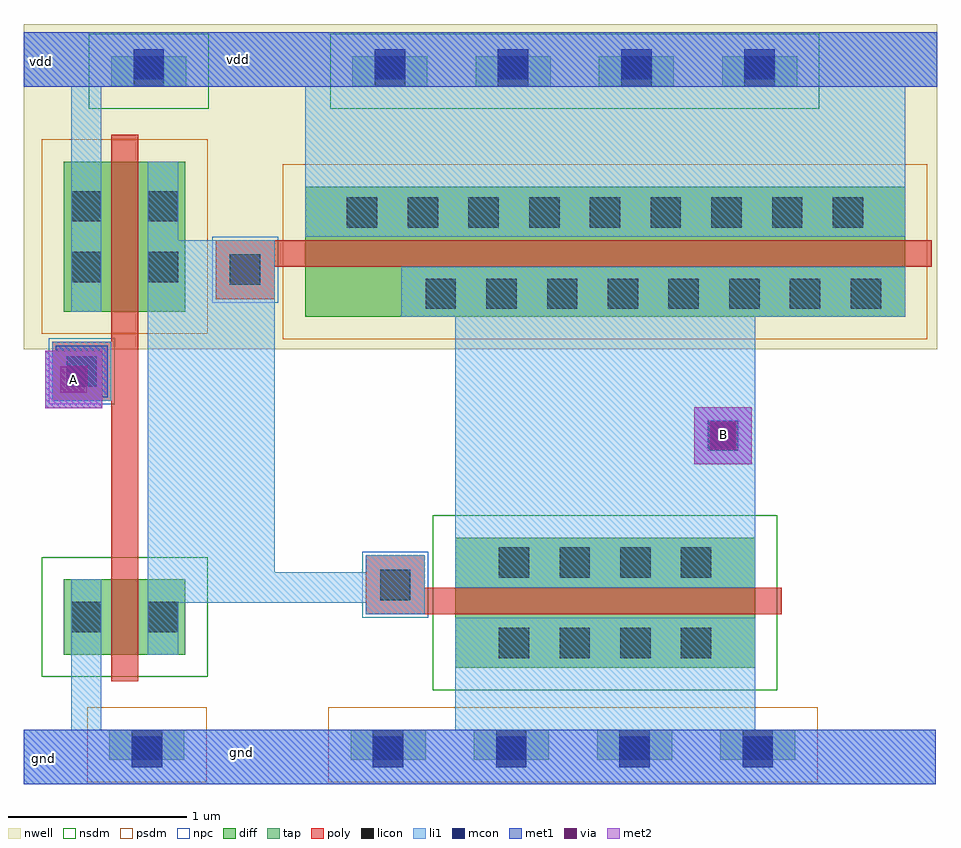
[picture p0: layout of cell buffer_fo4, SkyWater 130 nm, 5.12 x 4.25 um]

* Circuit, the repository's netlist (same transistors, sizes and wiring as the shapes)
* NGSPICE file created from buffer_fo4.ext - technology: sky130A

.subckt buffer_fo4 A B gnd vdd
X0 a_n240_0# A vdd vdd sky130_fd_pr__pfet_01v8 ad=0.223 pd=2.21 as=0.223 ps=2.21 w=0.84 l=0.15
X1 B a_n240_0# gnd gnd sky130_fd_pr__nfet_01v8 ad=0.47 pd=3.92 as=0.504 ps=3.96 w=1.68 l=0.15
X2 a_n240_0# A gnd gnd sky130_fd_pr__nfet_01v8 ad=0.111 pd=1.37 as=0.111 ps=1.37 w=0.42 l=0.15
X3 vdd a_n240_0# B vdd sky130_fd_pr__pfet_01v8 ad=1.01 pd=7.32 as=0.941 ps=7.28 w=3.36 l=0.15
.ends

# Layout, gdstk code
import gdstk
lib = gdstk.Library(unit=1e-6, precision=1e-09)
def R(c, l, rs):  # rectangles x0, y0, x1, y1
    for r in rs: c.add(gdstk.rectangle(r[:2], r[2:], *l))
def A(c, l, x, y, w, h, nx, ny, dx, dy):  # array of equal rectangles
    R(c, l, [(x+i*dx, y+j*dy, x+i*dx+w, y+j*dy+h) for i in range(nx) for j in range(ny)])
nwell = (64, 20)
diff = (65, 20)
tap = (65, 44)
poly = (66, 20)
licon = (66, 44)
li1 = (67, 20)
mcon = (67, 44)
met1 = (68, 20)
via = (68, 44)
met2 = (69, 20)
nsdm = (93, 44)
psdm = (94, 20)
npc = (95, 20)

buffer_fo4 = lib.new_cell('buffer_fo4')
R(buffer_fo4, nwell, [(-1.84,1.71,3.275,3.53)])
R(buffer_fo4, diff, [(0.575,-0.075,2.255,0.655), (-1.615,0,-0.935,0.42), (-0.265,1.89,3.095,2.62), (-1.615,1.92,-0.935,2.76)])
A(buffer_fo4, tap, -0.01, -0.59, 0.42, 0.17, 4, 1, 0.69, 0)
A(buffer_fo4, tap, 0, 3.18, 0.42, 0.17, 4, 1, 0.69, 0)
R(buffer_fo4, tap, [(-1.36,-0.59,-0.94,-0.42), (-1.35,3.18,-0.93,3.35)])
R(buffer_fo4, poly, [(-1.35,-0.15,-1.2,1.42), (0.075,0.225,2.405,0.375), (0.075,0.375,0.405,0.555), (-1.68,1.42,-1.2,1.75), (-1.35,1.75,-1.2,2.91), (-0.765,1.99,-0.435,2.17), (-0.765,2.17,3.245,2.32)])
A(buffer_fo4, licon, 0.115, -0.59, 0.17, 0.17, 4, 1, 0.69, 0)
A(buffer_fo4, licon, 0.82, -0.02, 0.17, 0.17, 4, 2, 0.34, 0.45)
A(buffer_fo4, licon, 0.41, 1.935, 0.17, 0.17, 8, 1, 0.34, 0)
A(buffer_fo4, licon, -0.03, 2.39, 0.17, 0.17, 9, 1, 0.34, 0)
A(buffer_fo4, licon, 0.125, 3.18, 0.17, 0.17, 4, 1, 0.69, 0)
R(buffer_fo4, licon, [(-1.235,-0.59,-1.065,-0.42), (-1.575,0.125,-1.405,0.295), (-1.145,0.125,-0.975,0.295), (0.155,0.305,0.325,0.475), (-1.6,1.5,-1.43,1.67), (-0.685,2.07,-0.515,2.24), (-1.575,2.085,-1.405,2.255), (-1.145,2.085,-0.975,2.255), (-1.575,2.425,-1.405,2.595), (-1.145,2.425,-0.975,2.595), (-1.225,3.18,-1.055,3.35)])
R(buffer_fo4, li1, [(-1.84,-0.725,3.265,-0.42), (-1.575,-0.42,-1.405,0.42), (0.575,-0.42,2.255,0.205), (-1.145,0,-0.975,0.29), (0.075,0.225,0.405,0.29), (-1.145,0.29,0.405,0.46), (0.575,0.375,2.255,1.89), (-1.145,0.46,-0.435,2.32), (0.075,0.46,0.405,0.555), (-1.68,1.42,-1.35,1.75), (0.275,1.89,3.095,2.17), (-1.575,1.92,-1.405,3.18), (-1.145,2.32,-0.975,2.76), (-0.265,2.34,3.095,3.18), (-1.84,3.18,3.275,3.485)])
A(buffer_fo4, mcon, 0.115, -0.63, 0.17, 0.17, 4, 1, 0.69, 0)
A(buffer_fo4, mcon, 0.125, 3.22, 0.17, 0.17, 4, 1, 0.69, 0)
R(buffer_fo4, mcon, [(-1.235,-0.63,-1.065,-0.46), (1.99,1.14,2.16,1.31), (-1.6,1.5,-1.43,1.67), (-1.225,3.22,-1.055,3.39)])
R(buffer_fo4, met1, [(-1.84,-0.725,3.265,-0.42), (1.915,1.065,2.235,1.385), (-1.72,1.38,-1.4,1.44), (-1.72,1.44,-1.37,1.7), (-1.66,1.7,-1.37,1.73), (-1.84,3.18,3.275,3.485)])
R(buffer_fo4, via, [(2,1.15,2.15,1.3), (-1.635,1.465,-1.485,1.615)])
R(buffer_fo4, met2, [(1.915,1.065,2.235,1.385), (-1.72,1.38,-1.4,1.7)])
R(buffer_fo4, nsdm, [(0.45,-0.2,2.38,0.78), (-1.74,-0.125,-0.81,0.545), (-1.475,3.055,-0.805,3.475), (-0.125,3.055,2.615,3.475)])
R(buffer_fo4, psdm, [(-1.485,-0.715,-0.815,-0.295), (-0.135,-0.715,2.605,-0.295), (-0.39,1.765,3.22,2.745), (-1.74,1.795,-0.81,2.885)])
R(buffer_fo4, npc, [(0.055,0.205,0.425,0.575), (-1.7,1.4,-1.33,1.77), (-0.785,1.97,-0.415,2.34)])
buffer_fo4.add(gdstk.Label('gnd', (-0.62,-0.55), layer=68, texttype=5))
buffer_fo4.add(gdstk.Label('vdd', (-0.64,3.33), layer=68, texttype=5))
buffer_fo4.add(gdstk.Label('A', (-1.56,1.54), layer=69, texttype=5))
buffer_fo4.add(gdstk.Label('B', (2.08,1.23), layer=69, texttype=5))
buffer_fo4.add(gdstk.Label('gnd', (-1.73,-0.58), layer=68, texttype=5))
buffer_fo4.add(gdstk.Label('vdd', (-1.74,3.32), layer=68, texttype=5))

lib.write_gds('buffer_fo4.gds')
